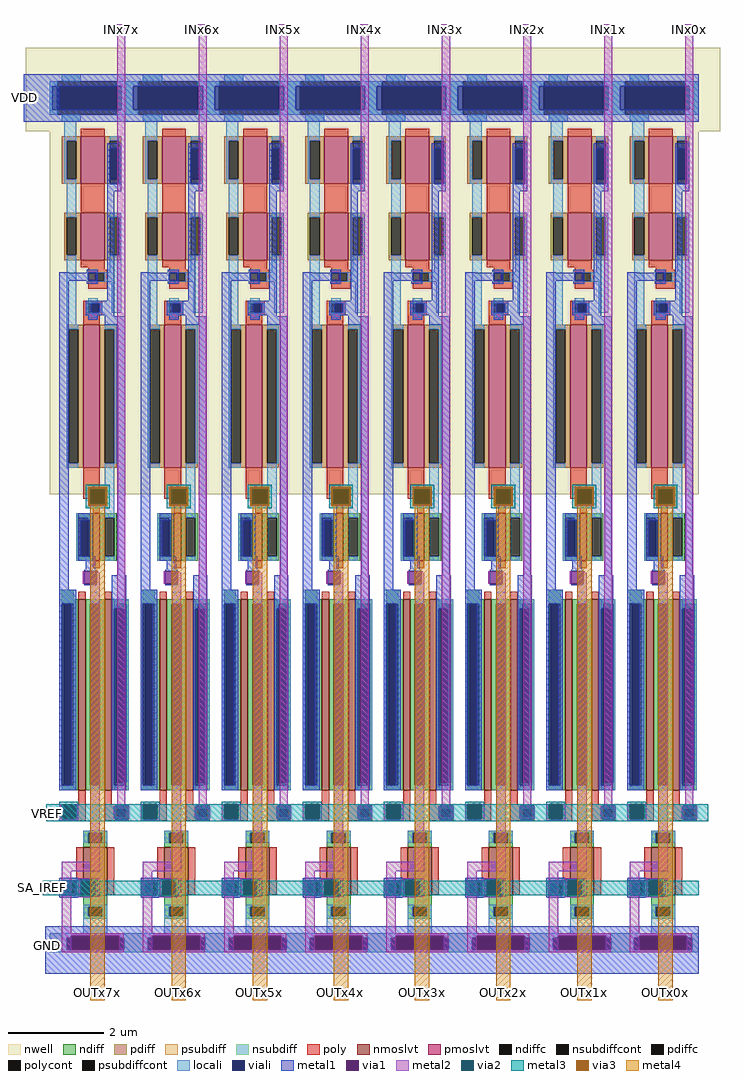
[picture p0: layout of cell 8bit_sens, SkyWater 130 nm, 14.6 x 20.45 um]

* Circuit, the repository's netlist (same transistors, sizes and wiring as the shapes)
* SPICE3 file created from 8bit_sens.ext - technology: sky130B

.subckt sens_amp V_IN SA_IREF OUT REF VDD GND
X0 GN GN VDD VDD sky130_fd_pr__pfet_01v8_lvt ad=3.5e+11p pd=2.7e+06u as=1.8e+12p ps=1.22e+07u w=1e+06u l=500000u
X1 net1 V_IN net2 GND sky130_fd_pr__nfet_01v8_lvt ad=1.4e+12p pd=8.7e+06u as=1.775e+12p ps=1.05e+07u w=4e+06u l=150000u
X2 net2 REF GN GND sky130_fd_pr__nfet_01v8_lvt ad=0p pd=0u as=1.45e+12p ps=9.1e+06u w=4e+06u l=150000u
X3 net1 GN VDD VDD sky130_fd_pr__pfet_01v8_lvt ad=3.5e+11p pd=2.7e+06u as=0p ps=0u w=1e+06u l=500000u
X4 net2 SA_IREF GND GND sky130_fd_pr__nfet_01v8_lvt ad=0p pd=0u as=6e+11p ps=4.7e+06u w=500000u l=1e+06u
X5 OUT net1 VDD VDD sky130_fd_pr__pfet_01v8_lvt ad=1.05e+12p pd=6.7e+06u as=0p ps=0u w=3e+06u l=350000u
X6 OUT net1 GND GND sky130_fd_pr__nfet_01v8_lvt ad=3.5e+11p pd=2.7e+06u as=0p ps=0u w=1e+06u l=150000u
.ends

.subckt x8bit_sens INx1x INx0x INx2x INx3x INx4x INx5x INx6x INx7x OUTx7x OUTx6x OUTx5x
+ OUTx4x OUTx3x OUTx2x OUTx1x OUTx0x SA_IREF VREF GND VDD
Xsens_amp_2 INx5x SA_IREF OUTx5x VREF VDD GND sens_amp
Xsens_amp_3 INx4x SA_IREF OUTx4x VREF VDD GND sens_amp
Xsens_amp_4 INx3x SA_IREF OUTx3x VREF VDD GND sens_amp
Xsens_amp_5 INx2x SA_IREF OUTx2x VREF VDD GND sens_amp
Xsens_amp_6 INx1x SA_IREF OUTx1x VREF VDD GND sens_amp
Xsens_amp_7 INx0x SA_IREF OUTx0x VREF VDD GND sens_amp
Xsens_amp_0 INx7x SA_IREF OUTx7x VREF VDD GND sens_amp
Xsens_amp_1 INx6x SA_IREF OUTx6x VREF VDD GND sens_amp
.ends

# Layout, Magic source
magic
tech sky130B
magscale 1 2
<< nwell >>
rect -100 2890 2810 3240
<< metal1 >>
rect -110 2930 40 3130
rect -20 -640 30 -440
<< metal2 >>
rect 280 3290 320 3340
rect 620 3290 660 3340
rect 960 3290 1000 3340
rect 1300 3290 1340 3340
rect 1640 3290 1680 3340
rect 1980 3290 2020 3340
rect 2320 3290 2360 3340
rect 2660 3290 2700 3340
<< metal3 >>
rect -15 0 385 70
rect -30 -310 340 -250
<< metal4 >>
rect 170 -750 230 -690
rect 510 -750 570 -690
rect 850 -750 910 -690
rect 1190 -750 1250 -690
rect 1530 -750 1590 -690
rect 1870 -750 1930 -690
rect 2210 -750 2270 -690
rect 2550 -750 2610 -690
use sens_amp  sens_amp_0
transform 1 0 -590 0 1 2350
box 530 -3100 1000 977
use sens_amp  sens_amp_1
transform 1 0 -250 0 1 2350
box 530 -3100 1000 977
use sens_amp  sens_amp_2
transform 1 0 90 0 1 2350
box 530 -3100 1000 977
use sens_amp  sens_amp_3
transform 1 0 430 0 1 2350
box 530 -3100 1000 977
use sens_amp  sens_amp_4
transform 1 0 770 0 1 2350
box 530 -3100 1000 977
use sens_amp  sens_amp_5
transform 1 0 1110 0 1 2350
box 530 -3100 1000 977
use sens_amp  sens_amp_6
transform 1 0 1450 0 1 2350
box 530 -3100 1000 977
use sens_amp  sens_amp_7
transform 1 0 1790 0 1 2350
box 530 -3100 1000 977
<< labels >>
rlabel metal2 2320 3290 2360 3340 1 INx1x
port 1 n
rlabel metal2 2660 3290 2700 3340 1 INx0x
port 2 n
rlabel metal2 1980 3290 2020 3340 1 INx2x
port 3 n
rlabel metal2 1640 3290 1680 3340 1 INx3x
port 4 n
rlabel metal2 1300 3290 1340 3340 1 INx4x
port 5 n
rlabel metal2 960 3290 1000 3340 1 INx5x
port 6 n
rlabel metal2 620 3290 660 3340 1 INx6x
port 7 n
rlabel metal2 280 3290 320 3340 1 INx7x
port 8 n
rlabel metal4 170 -750 230 -690 1 OUTx7x
port 9 n
rlabel metal4 510 -750 570 -690 1 OUTx6x
port 10 n
rlabel metal4 850 -750 910 -690 1 OUTx5x
port 11 n
rlabel metal4 1190 -750 1250 -690 1 OUTx4x
port 12 n
rlabel metal4 1530 -750 1590 -690 1 OUTx3x
port 13 n
rlabel metal4 1870 -750 1930 -690 1 OUTx2x
port 14 n
rlabel metal4 2210 -750 2270 -690 1 OUTx1x
port 15 n
rlabel metal4 2550 -750 2610 -690 1 OUTx0x
port 16 n
rlabel metal3 -30 -280 -30 -280 1 SA_IREF
port 17 n
rlabel metal3 -10 30 -10 30 1 VREF
port 18 n
rlabel metal1 -10 -520 -10 -520 1 GND
port 19 n
rlabel metal1 -110 2930 -100 3130 3 VDD
port 20 e
<< end >>

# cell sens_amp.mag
magic
tech sky130B
magscale 1 2
<< nwell >>
rect 530 550 1000 890
rect 590 -980 930 550
<< pmoslvt >>
rect 720 320 820 520
rect 720 0 820 200
rect 730 -870 800 -270
<< nmoslvt >>
rect 770 -1260 800 -1060
rect 710 -2220 740 -1420
rect 820 -2220 850 -1420
rect 730 -2660 830 -2460
<< ndiff >>
rect 700 -1080 770 -1060
rect 700 -1240 710 -1080
rect 750 -1240 770 -1080
rect 700 -1260 770 -1240
rect 800 -1080 870 -1060
rect 800 -1240 820 -1080
rect 860 -1240 870 -1080
rect 800 -1260 870 -1240
rect 640 -1420 690 -1380
rect 640 -1440 710 -1420
rect 640 -2200 650 -1440
rect 690 -2200 710 -1440
rect 640 -2220 710 -2200
rect 740 -1440 820 -1420
rect 740 -2200 760 -1440
rect 800 -2200 820 -1440
rect 740 -2220 820 -2200
rect 850 -1440 920 -1420
rect 850 -2190 870 -1440
rect 910 -2190 920 -1440
rect 850 -2220 920 -2190
rect 730 -2400 830 -2390
rect 730 -2440 750 -2400
rect 810 -2440 830 -2400
rect 730 -2460 830 -2440
rect 730 -2710 830 -2660
rect 730 -2750 750 -2710
rect 810 -2750 830 -2710
rect 730 -2760 830 -2750
<< pdiff >>
rect 640 500 720 520
rect 640 340 660 500
rect 700 340 720 500
rect 640 320 720 340
rect 820 500 890 520
rect 820 340 840 500
rect 880 340 890 500
rect 820 320 890 340
rect 650 180 720 200
rect 650 20 660 180
rect 700 20 720 180
rect 650 0 720 20
rect 820 180 890 200
rect 820 20 840 180
rect 880 20 890 180
rect 820 0 890 20
rect 660 -290 730 -270
rect 660 -850 670 -290
rect 710 -850 730 -290
rect 660 -870 730 -850
rect 800 -290 870 -270
rect 800 -850 820 -290
rect 860 -850 870 -290
rect 800 -870 870 -850
<< ndiffc >>
rect 710 -1240 750 -1080
rect 820 -1240 860 -1080
rect 650 -2200 690 -1440
rect 760 -2200 800 -1440
rect 870 -2190 910 -1440
rect 750 -2440 810 -2400
rect 750 -2750 810 -2710
<< pdiffc >>
rect 660 340 700 500
rect 840 340 880 500
rect 660 20 700 180
rect 840 20 880 180
rect 670 -850 710 -290
rect 820 -850 860 -290
<< psubdiff >>
rect 590 -2840 930 -2820
rect 590 -2890 660 -2840
rect 900 -2890 930 -2840
rect 590 -2900 930 -2890
<< nsubdiff >>
rect 640 750 720 780
rect 590 610 620 750
rect 870 610 930 750
rect 640 580 720 610
<< psubdiffcont >>
rect 660 -2890 900 -2840
<< nsubdiffcont >>
rect 620 610 870 750
<< poly >>
rect 720 520 820 550
rect 720 200 820 320
rect 720 -30 820 0
rect 750 -40 820 -30
rect 750 -53 830 -40
rect 750 -87 783 -53
rect 817 -87 830 -53
rect 750 -120 830 -87
rect 730 -180 810 -170
rect 730 -220 750 -180
rect 790 -220 810 -180
rect 730 -230 810 -220
rect 730 -270 800 -230
rect 730 -1000 800 -870
rect 770 -1060 800 -1000
rect 770 -1290 800 -1260
rect 710 -1420 740 -1390
rect 820 -1420 850 -1390
rect 710 -2280 740 -2220
rect 630 -2298 740 -2280
rect 630 -2332 653 -2298
rect 687 -2332 740 -2298
rect 630 -2350 740 -2332
rect 820 -2280 850 -2220
rect 820 -2298 920 -2280
rect 820 -2332 873 -2298
rect 907 -2332 920 -2298
rect 820 -2350 920 -2332
rect 700 -2600 730 -2460
rect 630 -2610 730 -2600
rect 630 -2650 650 -2610
rect 690 -2650 730 -2610
rect 630 -2660 730 -2650
rect 830 -2660 860 -2460
<< polycont >>
rect 783 -87 817 -53
rect 750 -220 790 -180
rect 653 -2332 687 -2298
rect 873 -2332 907 -2298
rect 650 -2650 690 -2610
<< locali >>
rect 640 750 720 780
rect 590 730 620 750
rect 870 730 930 750
rect 590 630 600 730
rect 890 630 930 730
rect 590 610 620 630
rect 870 610 930 630
rect 640 580 720 610
rect 650 500 700 580
rect 650 340 660 500
rect 650 320 700 340
rect 840 500 880 520
rect 660 180 700 320
rect 660 -270 700 20
rect 840 180 890 200
rect 880 20 890 180
rect 840 -50 890 20
rect 750 -52 890 -50
rect 784 -53 890 -52
rect 750 -87 783 -86
rect 817 -87 890 -53
rect 750 -90 890 -87
rect 750 -180 790 -160
rect 740 -220 750 -180
rect 790 -183 810 -180
rect 797 -217 810 -183
rect 790 -220 810 -217
rect 850 -220 890 -90
rect 750 -240 790 -220
rect 660 -290 710 -270
rect 660 -850 670 -290
rect 660 -870 710 -850
rect 820 -290 870 -270
rect 860 -850 870 -290
rect 820 -970 860 -850
rect 810 -1010 860 -970
rect 700 -1080 760 -1060
rect 700 -1240 710 -1080
rect 750 -1090 760 -1080
rect 700 -1260 760 -1240
rect 820 -1080 860 -1010
rect 820 -1260 860 -1240
rect 630 -1440 700 -1380
rect 630 -2200 640 -1440
rect 690 -2200 700 -1440
rect 630 -2220 700 -2200
rect 760 -1440 800 -1390
rect 653 -2298 687 -2282
rect 653 -2348 687 -2332
rect 760 -2390 800 -2200
rect 860 -1440 920 -1420
rect 860 -1460 870 -1440
rect 910 -2190 920 -1440
rect 900 -2200 920 -2190
rect 860 -2220 920 -2200
rect 873 -2298 907 -2282
rect 873 -2348 907 -2332
rect 730 -2400 830 -2390
rect 730 -2440 750 -2400
rect 810 -2440 830 -2400
rect 630 -2600 710 -2590
rect 630 -2660 640 -2600
rect 700 -2660 710 -2600
rect 630 -2670 710 -2660
rect 730 -2710 830 -2700
rect 730 -2750 750 -2710
rect 810 -2750 830 -2710
rect 730 -2820 830 -2750
rect 590 -2840 930 -2820
rect 590 -2890 660 -2840
rect 900 -2890 930 -2840
rect 590 -2900 930 -2890
<< viali >>
rect 600 630 620 730
rect 620 630 870 730
rect 870 630 890 730
rect 840 340 880 470
rect 840 320 880 340
rect 750 -53 784 -52
rect 750 -86 783 -53
rect 783 -86 784 -53
rect 763 -217 790 -183
rect 790 -217 797 -183
rect 770 -1010 810 -970
rect 720 -1240 750 -1090
rect 750 -1240 760 -1090
rect 640 -2200 650 -1440
rect 650 -2200 680 -1440
rect 653 -2332 687 -2298
rect 860 -2190 870 -1460
rect 870 -2190 900 -1460
rect 860 -2200 900 -2190
rect 873 -2332 907 -2298
rect 640 -2610 700 -2600
rect 640 -2650 650 -2610
rect 650 -2650 690 -2610
rect 690 -2650 700 -2610
rect 640 -2660 700 -2650
rect 660 -2890 900 -2840
<< metal1 >>
rect 590 730 930 780
rect 590 630 600 730
rect 890 630 930 730
rect 590 580 930 630
rect 830 470 890 490
rect 830 320 840 470
rect 880 320 890 470
rect 830 290 890 320
rect 630 -52 670 -50
rect 744 -52 790 -40
rect 630 -85 750 -52
rect 630 -1380 670 -85
rect 744 -86 750 -85
rect 784 -86 790 -52
rect 744 -98 790 -86
rect 830 -170 860 290
rect 740 -183 860 -170
rect 740 -217 763 -183
rect 797 -217 860 -183
rect 740 -230 860 -217
rect 750 -250 790 -230
rect 820 -235 860 -230
rect 820 -270 905 -235
rect 764 -964 816 -958
rect 764 -1022 816 -1016
rect 710 -1090 770 -1060
rect 710 -1240 720 -1090
rect 760 -1240 770 -1090
rect 710 -1260 780 -1240
rect 740 -1298 780 -1260
rect 734 -1304 786 -1298
rect 875 -1320 905 -270
rect 734 -1362 786 -1356
rect 630 -1440 700 -1380
rect 630 -2200 640 -1440
rect 680 -2200 700 -1440
rect 630 -2220 700 -2200
rect 850 -1460 910 -1320
rect 850 -2200 860 -1460
rect 900 -2200 910 -1460
rect 850 -2220 910 -2200
rect 644 -2289 696 -2283
rect 644 -2347 696 -2341
rect 864 -2289 916 -2283
rect 864 -2347 916 -2341
rect 634 -2590 706 -2588
rect 630 -2600 790 -2590
rect 630 -2660 640 -2600
rect 700 -2660 720 -2600
rect 780 -2660 790 -2600
rect 630 -2670 790 -2660
rect 634 -2672 706 -2670
rect 590 -2830 930 -2790
rect 590 -2840 680 -2830
rect 880 -2840 930 -2830
rect 590 -2890 660 -2840
rect 900 -2890 930 -2840
rect 590 -2990 930 -2890
<< via1 >>
rect 764 -970 816 -964
rect 764 -1010 770 -970
rect 770 -1010 810 -970
rect 810 -1010 816 -970
rect 764 -1016 816 -1010
rect 734 -1356 786 -1304
rect 644 -2298 696 -2289
rect 644 -2332 653 -2298
rect 653 -2332 687 -2298
rect 687 -2332 696 -2298
rect 644 -2341 696 -2332
rect 864 -2298 916 -2289
rect 864 -2332 873 -2298
rect 873 -2332 907 -2298
rect 907 -2332 916 -2298
rect 864 -2341 916 -2332
rect 720 -2660 780 -2600
rect 680 -2840 880 -2830
rect 680 -2890 880 -2840
<< metal2 >>
rect 750 -960 830 -950
rect 750 -1020 760 -960
rect 820 -1020 830 -960
rect 750 -1030 830 -1020
rect 728 -1356 734 -1304
rect 786 -1310 792 -1304
rect 786 -1356 800 -1310
rect 630 -2340 640 -2280
rect 700 -2340 710 -2280
rect 630 -2341 644 -2340
rect 696 -2341 710 -2340
rect 630 -2350 710 -2341
rect 760 -2520 800 -1356
rect 873 -2289 907 977
rect 858 -2341 864 -2289
rect 916 -2341 922 -2289
rect 640 -2560 800 -2520
rect 640 -2820 680 -2560
rect 710 -2600 800 -2590
rect 710 -2660 720 -2600
rect 780 -2660 800 -2600
rect 710 -2670 800 -2660
rect 640 -2830 900 -2820
rect 640 -2890 680 -2830
rect 880 -2890 900 -2830
rect 640 -2900 900 -2890
<< via2 >>
rect 760 -964 820 -960
rect 760 -1016 764 -964
rect 764 -1016 816 -964
rect 816 -1016 820 -964
rect 760 -1020 820 -1016
rect 640 -2289 700 -2280
rect 640 -2340 644 -2289
rect 644 -2340 696 -2289
rect 696 -2340 700 -2289
rect 720 -2660 780 -2600
<< metal3 >>
rect 740 -955 840 -940
rect 740 -1025 755 -955
rect 825 -1025 840 -955
rect 740 -1040 840 -1025
rect 630 -2280 710 -2270
rect 630 -2340 640 -2280
rect 700 -2340 970 -2280
rect 630 -2350 970 -2340
rect 715 -2600 785 -2595
rect 590 -2660 720 -2600
rect 780 -2660 930 -2600
rect 715 -2665 785 -2660
<< via3 >>
rect 755 -960 825 -955
rect 755 -1020 760 -960
rect 760 -1020 820 -960
rect 820 -1020 825 -960
rect 755 -1025 825 -1020
<< metal4 >>
rect 750 -955 830 -950
rect 750 -1025 755 -955
rect 825 -1025 830 -955
rect 750 -1030 830 -1025
rect 760 -3100 820 -1030
<< labels >>
rlabel metal2 890 940 890 940 1 V_IN
port 1 n
rlabel metal1 600 600 600 600 1 VDD
port 2 n
rlabel metal1 660 -2940 660 -2940 1 GND
port 3 n
rlabel metal3 600 -2630 600 -2630 1 SA_IREF
port 5 n
rlabel metal4 790 -3000 790 -3000 1 OUT
port 6 n
rlabel metal1 720 -70 720 -70 1 GN
rlabel metal1 850 270 850 270 1 net1
rlabel locali 740 -2420 740 -2420 1 net2
rlabel metal3 950 -2310 950 -2310 1 REF
port 7 n
<< end >>
